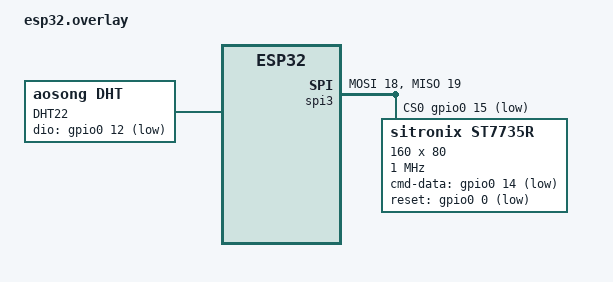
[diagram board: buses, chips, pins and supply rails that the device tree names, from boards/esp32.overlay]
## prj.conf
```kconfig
CONFIG_WIFI=n
#CONFIG_WIFI_ESP32=y
CONFIG_HEAP_MEM_POOL_SIZE=98304

CONFIG_NETWORKING=y
CONFIG_NET_L2_ETHERNET=y

CONFIG_NET_IPV6=n
CONFIG_NET_IPV4=y
CONFIG_NET_DHCPV4=y

CONFIG_NET_MGMT=y
CONFIG_NET_MGMT_EVENT=y

CONFIG_LOG_STRDUP_BUF_COUNT=16
#CONFIG_LOG_MODE_IMMEDIATE=y
CONFIG_LOG_PROCESS_THREAD_SLEEP_MS=20
CONFIG_NET_LOG=y
CONFIG_NET_SHELL=n

CONFIG_MBEDTLS=y
CONFIG_MBEDTLS_ENTROPY_ENABLED=y
CONFIG_MBEDTLS_KEY_EXCHANGE_ECDHE_ECDSA_ENABLED=y
CONFIG_MBEDTLS_ECP_ALL_ENABLED=y

CONFIG_SPI=y
CONFIG_SENSOR=y
CONFIG_DHT=y
CONFIG_SENSOR_LOG_LEVEL_DBG=y

CONFIG_CBPRINTF_FP_SUPPORT=y

# Display
CONFIG_DISPLAY=y
CONFIG_ST7735R=y
CONFIG_LVGL=y
CONFIG_LVGL_USE_LABEL=y
CONFIG_LVGL_USE_THEME_MATERIAL=y
CONFIG_LVGL_THEME_MATERIAL_DARK=y
CONFIG_LVGL_THEME_DEFAULT_COLOR_PRIMARY_WHITE=y
CONFIG_LVGL_THEME_DEFAULT_COLOR_SECONDARY_BLACK=y
CONFIG_LVGL_FONT_MONTSERRAT_32=y
CONFIG_LVGL_FONT_MONTSERRAT_16=y
CONFIG_LVGL_FONT_MONTSERRAT_10=y
CONFIG_LVGL_THEME_DEFAULT_FONT_SMALL_MONTSERRAT_16=y
CONFIG_LVGL_THEME_DEFAULT_FONT_NORMAL_MONTSERRAT_32=y
CONFIG_LVGL_DISPLAY_DEV_NAME="ST7735R"
CONFIG_LVGL_HOR_RES_MAX=160
CONFIG_LVGL_VER_RES_MAX=80
CONFIG_LVGL_BITS_PER_PIXEL=16

CONFIG_PWM=y
CONFIG_PWM_LED_ESP32=y
CONFIG_PWM_LED_ESP32_HS_TIMER0_FREQ=50
CONFIG_PWM_LED_ESP32_HS_TIMER0_BIT_NUM=15
```

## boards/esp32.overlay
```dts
/ {
	dht22 {
		compatible = "aosong,dht";
		status = "okay";
		label = "DHT22";
		dio-gpios = <&gpio0 12 (GPIO_PULL_UP | GPIO_ACTIVE_LOW)>;
		dht22;
	};
};

&spi3 {
    miso-pin = <19>;
	mosi-pin = <18>;
	sclk-pin = <5>;
	csel-pin = <15>;

    cs-gpios = <&gpio0 15 GPIO_ACTIVE_LOW>;

	st7735r@0 {
		compatible = "sitronix,st7735r";
		label = "ST7735R";
		spi-max-frequency = <1000000>;
		reg = <0>;
		cmd-data-gpios = <&gpio0 14 GPIO_ACTIVE_LOW>;
		reset-gpios = <&gpio0 0 GPIO_ACTIVE_LOW>;
		width = <160>;
		height = <80>;
		x-offset = <0>;
		y-offset = <0>;
		madctl = <0x60>;
		colmod = <0x55>;
		vmctr1 = <0x0e>;
		pwctr1 = [a2 02 84];
		pwctr2 = [c5];
		pwctr3 = [0a 00];
		pwctr4 = [8a 2a];
		pwctr5 = [8a ee];
		frmctr1 = [01 2c 2d];
		frmctr2 = [01 2c 2d];
		frmctr3 = [01 2c 2d 01 2c 2d];
		gamctrp1 = [02 1c 07 12 37 32 29 2d 29 25 2b 39 00 01 03 10];
		gamctrn1 = [03 1d 07 06 2e 2c 29 2d 2e 2e 37 3f 00 00 02 10];
	};
};
```

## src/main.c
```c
#include "logging/log.h"
#include <drivers/gpio.h>
#include <drivers/sensor.h>
#include <drivers/display.h>
#include <drivers/pwm.h>
#include <drivers/counter.h>
#include <sys/byteorder.h>
#include <lvgl.h>
#include <math.h>

LOG_MODULE_REGISTER(main);

const struct device *l_gpio0 = NULL;
const struct device *l_gpio1 = NULL;
const struct device *l_dht22 = NULL;
const struct device *l_display = NULL;
const struct device *l_pwm = NULL;
const struct device *l_counter = NULL;

static lv_obj_t *l_lv_hello_world;
static lv_obj_t *l_lv_temp;
static lv_obj_t *l_lv_rh;
static lv_obj_t *l_lv_temp_label;
static lv_obj_t *l_lv_rh_label;
static lv_style_t l_lv_default_style;
static lv_style_t l_lv_tiny_style;
static lv_style_t l_lv_value_style;

#define GPIO_PIN_LED 13
#define GPIO_PIN_SERVO 27
#define PWM_CHANNEL GPIO_PIN_SERVO
#define GPIO_PIN_BUTTON 26  // "A0"
#define GPIO_PIN_ENC1 25  // "A1"
#define GPIO_PIN_ENC2 (34 - 32)  // "A2"

static int gpio_init()
{
    int rc;

    l_gpio0 = device_get_binding(DT_LABEL(DT_NODELABEL(gpio0)));
    if (!l_gpio0) {
        LOG_ERR("Failed to open GPIO0 device");
        return 1;
    }

    l_gpio1 = device_get_binding(DT_LABEL(DT_NODELABEL(gpio1)));
    if (!l_gpio1) {
        LOG_ERR("Failed to open GPIO1 device");
        return 1;
    }

    rc = gpio_pin_configure(l_gpio0, GPIO_PIN_LED, GPIO_OUTPUT_LOW);
    if (rc) {
        LOG_ERR("Error configuring pin");
        return 1;
    }

    return 0;
}

static int display_init()
{
    l_display = device_get_binding(DT_LABEL(DT_INST(0, sitronix_st7735r)));

    if (!l_display) {
        LOG_ERR("Failed to open display");
        return 1;
    }

    if (display_blanking_off(l_display)) {
        LOG_ERR("Display unblank failed");
        return 1;
    }

    struct display_capabilities caps;
    display_get_capabilities(l_display, &caps);
    LOG_INF("Pixel format: %d", caps.current_pixel_format);

    lv_style_init(&l_lv_default_style);
    lv_style_set_bg_color(&l_lv_default_style, LV_STATE_DEFAULT, LV_COLOR_BLACK);
    lv_style_set_text_color(&l_lv_default_style, LV_STATE_DEFAULT, LV_COLOR_WHITE);
    lv_style_set_text_font(&l_lv_default_style, 0, lv_theme_get_font_small());

    lv_style_init(&l_lv_tiny_style);
    lv_style_set_text_color(&l_lv_tiny_style, LV_STATE_DEFAULT, LV_COLOR_RED);
    lv_style_set_text_font(&l_lv_tiny_style, 0, &lv_font_montserrat_16);

    lv_style_init(&l_lv_value_style);
    lv_style_set_text_color(&l_lv_value_style, LV_STATE_DEFAULT, LV_COLOR_WHITE);
    lv_style_set_text_font(&l_lv_value_style, 0, lv_theme_get_font_normal());

    lv_obj_add_style(lv_scr_act(), LV_OBJ_PART_MAIN, &l_lv_default_style);

    l_lv_hello_world = lv_label_create(lv_scr_act(), NULL);
    lv_label_set_text(l_lv_hello_world, "Hello world!");
	lv_obj_align(l_lv_hello_world, NULL, LV_ALIGN_CENTER, 0, 0);

    l_lv_temp = lv_label_create(lv_scr_act(), NULL);   
    lv_obj_add_style(l_lv_temp, LV_OBJ_PART_MAIN, &l_lv_value_style);
    lv_obj_align(l_lv_temp, NULL, LV_ALIGN_IN_TOP_LEFT, 0, -5);

    l_lv_rh = lv_label_create(lv_scr_act(), NULL);
    lv_obj_add_style(l_lv_rh, LV_OBJ_PART_MAIN, &l_lv_value_style);
    lv_obj_align(l_lv_rh, NULL, LV_ALIGN_IN_BOTTOM_LEFT, 0, 5);

    l_lv_temp_label = lv_label_create(lv_scr_act(), NULL);   
    lv_obj_add_style(l_lv_temp_label, LV_OBJ_PART_MAIN, &l_lv_tiny_style);
    lv_label_set_text(l_lv_temp_label, "T");
    lv_obj_align(l_lv_temp_label, l_lv_temp, LV_ALIGN_OUT_BOTTOM_LEFT, 0, -8);

    l_lv_rh_label = lv_label_create(lv_scr_act(), NULL);
    lv_obj_add_style(l_lv_rh_label, LV_OBJ_PART_MAIN, &l_lv_tiny_style);
    lv_label_set_text(l_lv_rh_label, "RH%");
    lv_obj_align(l_lv_rh_label, l_lv_rh, LV_ALIGN_OUT_TOP_LEFT, 0, 8);


    return 0;
}

static int display_update(int call, float temp, float rh)
{
    char buffer_count[16] = "";
    char buffer_t[8] = "";
    char buffer_rh[8] = "";
    snprintf(buffer_count, sizeof(buffer_count), "Uptime %d", call);
    snprintf(buffer_t, sizeof(buffer_t), "%.1fC", temp);
    snprintf(buffer_rh, sizeof(buffer_rh), "%.1f%%", rh);

    lv_label_set_text(l_lv_hello_world, buffer_count);
    lv_label_set_text(l_lv_temp, buffer_t);
    lv_label_set_text(l_lv_rh, buffer_rh);

    LOG_INF("DHT22 temp: %s, RH: %s",
            log_strdup(buffer_t), log_strdup(buffer_rh));

    lv_task_handler();
    return 0;
}

static int sensor_init()
{
    l_dht22 = device_get_binding(DT_LABEL(DT_INST(0, aosong_dht)));
    if (!l_dht22) {
        LOG_ERR("Failed to open DHT22");
        return 1;
    }

    return 0;
}

static int pwm_init()
{
    l_pwm = device_get_binding(CONFIG_PWM_LED_ESP32_DEV_NAME_0);
    if (!l_pwm) {
        LOG_ERR("Failed to open PWM device");
        return 1;
    }

    uint64_t cycles = 0;
    int rc = pwm_get_cycles_per_sec(l_pwm, PWM_CHANNEL, &cycles);
    if (rc) {
        LOG_ERR("Failed to get PWM cycles");
        return 1;
    }
    LOG_INF("PWM cycles %lld", cycles);

    return 0;
}

static int servo_set(float duty_ms)
{
    float duty = duty_ms * ((float)CONFIG_PWM_LED_ESP32_HS_TIMER0_FREQ / 1000);
    int period = (1 << CONFIG_PWM_LED_ESP32_HS_TIMER0_BIT_NUM) * duty;
    int rc = pwm_pin_set_cycles(l_pwm, PWM_CHANNEL, 0, period, 0);
    if (rc) {
        LOG_ERR("Failed to set PWM");
        return 1;
    }

    return 0;
}

static void input_poll()
{
    static bool last_state[3];
    const bool state[3] = {
        !gpio_pin_get(l_gpio0, GPIO_PIN_BUTTON),
        !gpio_pin_get(l_gpio0, GPIO_PIN_ENC1),
        !gpio_pin_get(l_gpio1, GPIO_PIN_ENC2),
    };

    if (state[0] && !last_state[0]) {
        LOG_INF("Button pressed");
    }

    if (state[1] && !last_state[1]) {
        LOG_INF("Knob %s", state[2] ? "-->" : "<--");
    }

    memcpy(last_state, state, sizeof(state));
}

static void counter_cb(const struct device *counter_dev,
				       uint8_t chan_id, uint32_t ticks,
				       void *user_data)
{
    const struct counter_alarm_cfg alarm_cfg = {
        .ticks = counter_us_to_ticks(l_counter, 2000),
        .callback = counter_cb,
    };
    int rc = counter_set_channel_alarm(l_counter, 0, &alarm_cfg);
    if (rc) {
        LOG_ERR("Error setting alarm");
    }

    input_poll();
}

static int input_init()
{
    int rc = gpio_pin_configure(l_gpio0, GPIO_PIN_BUTTON, GPIO_INPUT);
    if (rc) {
        LOG_ERR("Error configuring pin");
        return 1;
    }

    rc = gpio_pin_configure(l_gpio0, GPIO_PIN_ENC1, GPIO_INPUT);
    if (rc) {
        LOG_ERR("Error configuring pin");
        return 1;
    }

    rc = gpio_pin_configure(l_gpio1, GPIO_PIN_ENC2, GPIO_INPUT);
    if (rc) {
        LOG_ERR("Error configuring pin");
        return 1;
    }

    l_counter = device_get_binding(DT_LABEL(DT_NODELABEL(timer0)));
    if (!l_counter) {
        LOG_ERR("Failed to open counter device");
        return 1;
    }

    const struct counter_alarm_cfg alarm_cfg = {
        .ticks = counter_us_to_ticks(l_counter, 500000),
        .callback = counter_cb,
    };
    rc = counter_set_channel_alarm(l_counter, 0, &alarm_cfg);
    if (rc) {
        LOG_ERR("Error setting alarm");
        return 1;
    }

    rc = counter_start(l_counter);
    if (rc) {
        LOG_ERR("Error starting counter");
        return 1;
    }

    return 0;
}

int main(int argc, char **argv)
{
    LOG_INF("Hello there");

    if (gpio_init()) {
        return 1;
    }

    if (sensor_init()) {
        return 1;
    }

    if (display_init()) {
        return 1;
    }

    if (pwm_init()) {
        return 1;
    }

    if (input_init()) {
        return 1;
    }

    int call = 0;
    float servo_duty = 0.0f;
    while (true) {
        k_sleep(K_MSEC(1000));
        gpio_pin_set(l_gpio0, GPIO_PIN_LED, 1);
        k_sleep(K_MSEC(100));
        gpio_pin_set(l_gpio0, GPIO_PIN_LED, 0);

        gpio_port_value_t port0, port1;
        gpio_port_get(l_gpio0, &port0);
        gpio_port_get(l_gpio1, &port1);
        LOG_INF("GPIO0: %08x %08x", port0, port1);

        if (sensor_sample_fetch(l_dht22)) {
            LOG_ERR("Failed to fetch DHT22 sample");
        }

        struct sensor_value temp;
        struct sensor_value rh;
        if (sensor_channel_get(l_dht22, SENSOR_CHAN_AMBIENT_TEMP, &temp)) {
            LOG_ERR("Failed to read temperature");
        }
        if (sensor_channel_get(l_dht22, SENSOR_CHAN_HUMIDITY, &rh)) {
            LOG_ERR("Failed to read humitidy");
        }

        float temp_f = sensor_value_to_double(&temp);
        float rh_f = sensor_value_to_double(&rh);

        if (display_update(call, temp_f, rh_f)) {
            return 1;
        }
        call++;

        if (temp_f >= 27.0f) {
            if (servo_duty != 2.0f) {
                servo_duty = 2.0f;
                if (servo_set(servo_duty)) {
                    return 1;
                }
            }
        }
        if (temp_f < 26.0f) {
            if (servo_duty != 1.0f) {
                servo_duty = 1.0f;
                if (servo_set(servo_duty)) {
                    return 1;
                }
            }
        }
    }

    return 0;
}
```
